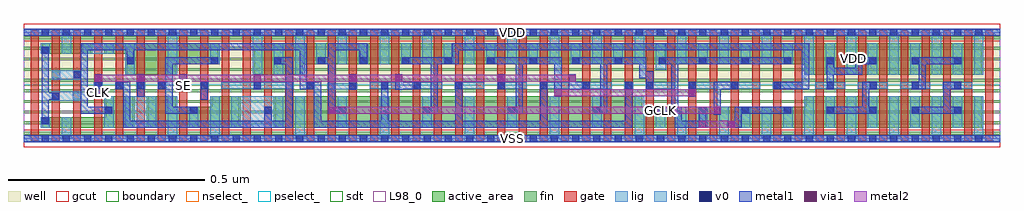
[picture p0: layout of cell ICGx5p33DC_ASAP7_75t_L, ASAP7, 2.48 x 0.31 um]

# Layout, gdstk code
import gdstk
lib = gdstk.Library(unit=1e-6, precision=2.5e-10)
def R(c, l, rs):  # rectangles x0, y0, x1, y1
    for r in rs: c.add(gdstk.rectangle(r[:2], r[2:], *l))
def A(c, l, x, y, w, h, nx, ny, dx, dy):  # array of equal rectangles
    R(c, l, [(x+i*dx, y+j*dy, x+i*dx+w, y+j*dy+h) for i in range(nx) for j in range(ny)])
def P(c, l, *ps):  # polygons
    for p in ps: c.add(gdstk.Polygon(p, *l))
well = (1, 0)
fin = (2, 0)
gate = (7, 0)
gcut = (10, 0)
active_area = (11, 0)
nselect_ = (12, 0)
pselect_ = (13, 0)
lig = (16, 0)
lisd = (17, 0)
v0 = (18, 0)
metal1 = (19, 0)
metal2 = (20, 0)
via1 = (21, 0)
sdt = (88, 0)
L98_0 = (98, 0)
boundary = (100, 0)

icgx5p33dc_asap7_75t_l = lib.new_cell('ICGx5p33DC_ASAP7_75t_L')
R(icgx5p33dc_asap7_75t_l, well, [(0,0.135,2.484,0.27)])
A(icgx5p33dc_asap7_75t_l, fin, 0, 0.01, 2.484, 0.007, 1, 10, 0, 0.027)
A(icgx5p33dc_asap7_75t_l, gate, 0.017, -0.005, 0.02, 0.28, 46, 1, 0.054, 0)
R(icgx5p33dc_asap7_75t_l, gcut, [(0,-0.022,2.484,0.022), (0,0.248,2.484,0.292)])
R(icgx5p33dc_asap7_75t_l, active_area, [(0.046,0.216,0.17,0.243)])
P(icgx5p33dc_asap7_75t_l, active_area, [(0.046,0.027),(0.278,0.027),(0.278,0.108),(0.208,0.108),(0.208,0.054),(0.046,0.054)],
  [(1.99,0.081),(1.574,0.081),(1.574,0.108),(0.64,0.108),(0.64,0.027),(2.438,0.027),(2.438,0.108),(1.99,0.108)],
  [(0.386,0.108),(0.316,0.108),(0.316,0.027),(0.548,0.027),(0.548,0.108),(0.478,0.108),(0.478,0.081),(0.386,0.081)],
  [(0.494,0.243),(0.208,0.243),(0.208,0.216),(0.262,0.216),(0.262,0.162),(0.386,0.162),(0.386,0.189),(0.494,0.189)],
  [(1.99,0.162),(2.438,0.162),(2.438,0.243),(0.586,0.243),(0.586,0.162),(0.71,0.162),(0.71,0.189),(1.99,0.189)])
R(icgx5p33dc_asap7_75t_l, nselect_, [(0,0,2.484,0.135)])
R(icgx5p33dc_asap7_75t_l, pselect_, [(0,0.135,2.484,0.27)])
A(icgx5p33dc_asap7_75t_l, lig, 0.178, 0.127, 0.022, 0.016, 6, 1, 0.054, 0)
A(icgx5p33dc_asap7_75t_l, lig, 0.88, 0.127, 0.076, 0.016, 6, 1, 0.108, 0)
A(icgx5p33dc_asap7_75t_l, lig, 1.582, 0.127, 0.076, 0.016, 8, 1, 0.108, 0)
R(icgx5p33dc_asap7_75t_l, lig, [(0,-0.008,2.484,0.008), (0.124,0.1,0.146,0.116), (0.772,0.125,0.848,0.141), (0.502,0.127,0.686,0.143), (0.718,0.127,0.74,0.143), (1.528,0.127,1.55,0.143), (0.07,0.154,0.092,0.17), (0,0.262,2.484,0.278)])
A(icgx5p33dc_asap7_75t_l, lisd, 0.474, 0, 0.024, 0.108, 6, 1, 0.216, 0)
A(icgx5p33dc_asap7_75t_l, lisd, 1.662, 0, 0.024, 0.081, 3, 1, 0.108, 0)
A(icgx5p33dc_asap7_75t_l, lisd, 1.986, 0, 0.024, 0.108, 5, 2, 0.108, 0.162)
A(icgx5p33dc_asap7_75t_l, lisd, 0.798, 0.027, 0.024, 0.081, 4, 1, 0.216, 0)
A(icgx5p33dc_asap7_75t_l, lisd, 1.608, 0.027, 0.024, 0.054, 4, 1, 0.108, 0)
A(icgx5p33dc_asap7_75t_l, lisd, 2.04, 0.027, 0.024, 0.081, 4, 2, 0.108, 0.135)
A(icgx5p33dc_asap7_75t_l, lisd, 0.744, 0.189, 0.024, 0.054, 8, 1, 0.108, 0)
A(icgx5p33dc_asap7_75t_l, lisd, 0.798, 0.189, 0.024, 0.081, 11, 1, 0.108, 0)
A(icgx5p33dc_asap7_75t_l, lisd, 1.716, 0.189, 0.024, 0.054, 3, 1, 0.108, 0)
R(icgx5p33dc_asap7_75t_l, lisd, [(0.096,0,0.12,0.054), (0.366,0,0.39,0.108), (0.042,0.027,0.066,0.054), (0.204,0.027,0.228,0.108), (0.258,0.027,0.336,0.108), (0.42,0.027,0.444,0.081), (0.528,0.027,0.66,0.108), (0.07,0.096,0.146,0.12), (0.07,0.15,0.146,0.174), (0.258,0.162,0.282,0.243), (0.366,0.162,0.39,0.27), (0.582,0.162,0.606,0.27), (0.636,0.162,0.66,0.243), (0.69,0.162,0.714,0.27), (1.608,0.175,1.635,0.243), (0.474,0.189,0.498,0.243), (0.042,0.216,0.066,0.243), (0.096,0.216,0.12,0.27), (0.15,0.216,0.228,0.243)])
A(icgx5p33dc_asap7_75t_l, v0, 0.045, -0.009, 0.018, 0.018, 45, 2, 0.054, 0.27)
A(icgx5p33dc_asap7_75t_l, v0, 0.423, 0.063, 0.018, 0.018, 3, 1, 0.189, 0)
A(icgx5p33dc_asap7_75t_l, v0, 1.016, 0.063, 0.018, 0.018, 3, 1, 0.216, 0)
A(icgx5p33dc_asap7_75t_l, v0, 1.611, 0.063, 0.018, 0.018, 8, 1, 0.108, 0)
A(icgx5p33dc_asap7_75t_l, v0, 0.18, 0.126, 0.018, 0.018, 6, 1, 0.054, 0)
A(icgx5p33dc_asap7_75t_l, v0, 1.098, 0.126, 0.018, 0.018, 5, 1, 0.108, 0)
A(icgx5p33dc_asap7_75t_l, v0, 1.584, 0.126, 0.018, 0.018, 4, 1, 0.108, 0)
A(icgx5p33dc_asap7_75t_l, v0, 0.747, 0.189, 0.018, 0.018, 8, 1, 0.108, 0)
A(icgx5p33dc_asap7_75t_l, v0, 1.719, 0.189, 0.018, 0.018, 7, 1, 0.108, 0)
R(icgx5p33dc_asap7_75t_l, v0, [(0.045,0.036,0.063,0.054), (0.207,0.063,0.225,0.081), (0.072,0.099,0.09,0.117), (0.828,0.124,0.846,0.142), (0.585,0.126,0.603,0.144), (0.72,0.126,0.738,0.144), (0.909,0.126,0.927,0.144), (0.992,0.126,1.01,0.144), (2.043,0.126,2.061,0.144), (2.152,0.126,2.17,0.144), (2.259,0.126,2.277,0.144), (2.367,0.126,2.385,0.144), (0.126,0.153,0.144,0.171), (0.261,0.189,0.279,0.207), (0.477,0.189,0.495,0.207), (0.637,0.189,0.655,0.207), (1.615,0.189,1.633,0.207), (0.045,0.216,0.063,0.234)])
R(icgx5p33dc_asap7_75t_l, metal1, [(0,-0.009,2.484,0.009), (0.45,0.099,0.468,0.144), (0.18,0.106,0.198,0.164), (0.288,0.106,0.306,0.164), (1.692,0.106,1.71,0.144), (0.828,0.124,0.846,0.164), (0.396,0.126,0.414,0.163), (0.585,0.126,0.603,0.164), (1.206,0.126,1.224,0.164), (0,0.261,2.484,0.279)])
P(icgx5p33dc_asap7_75t_l, metal1, [(1.01,0.144),(0.963,0.144),(0.963,0.164),(0.945,0.164),(0.945,0.124),(0.963,0.124),(0.963,0.126),(1.01,0.126)],
  [(1.773,0.126),(1.818,0.126),(1.818,0.144),(1.755,0.144),(1.755,0.061),(1.773,0.061)],
  [(2.169,0.081),(2.151,0.081),(2.151,0.126),(2.17,0.126),(2.17,0.144),(2.133,0.144),(2.133,0.081),(2.043,0.081),(2.043,0.063),(2.169,0.063)],
  [(2.385,0.081),(2.358,0.081),(2.358,0.126),(2.385,0.126),(2.385,0.144),(2.34,0.144),(2.34,0.081),(2.259,0.081),(2.259,0.063),(2.385,0.063)],
  [(1.953,0.207),(1.615,0.207),(1.615,0.189),(1.647,0.189),(1.647,0.081),(1.611,0.081),(1.611,0.063),(1.656,0.063),(1.656,0.027),(1.737,0.027),(1.737,0.081),(1.719,0.081),(1.719,0.045),(1.674,0.045),(1.674,0.081),(1.665,0.081),(1.665,0.189),(1.953,0.189)],
  [(1.44,0.144),(1.404,0.144),(1.404,0.164),(1.386,0.164),(1.386,0.126),(1.44,0.126)],
  [(1.485,0.189),(1.566,0.189),(1.566,0.153),(1.584,0.153),(1.584,0.126),(1.602,0.126),(1.602,0.171),(1.584,0.171),(1.584,0.207),(1.395,0.207),(1.395,0.189),(1.467,0.189),(1.467,0.081),(1.448,0.081),(1.448,0.063),(1.485,0.063)],
  [(0.684,0.207),(0.637,0.207),(0.637,0.189),(0.666,0.189),(0.666,0.045),(0.63,0.045),(0.63,0.081),(0.612,0.081),(0.612,0.045),(0.27,0.045),(0.27,0.144),(0.234,0.144),(0.234,0.126),(0.252,0.126),(0.252,0.027),(0.684,0.027)],
  [(1.953,0.081),(1.809,0.081),(1.809,0.045),(1.79,0.045),(1.79,0.027),(1.827,0.027),(1.827,0.063),(1.953,0.063)],
  [(2.061,0.162),(2.133,0.162),(2.133,0.189),(2.169,0.189),(2.169,0.207),(2.115,0.207),(2.115,0.18),(2.061,0.18),(2.061,0.207),(2.043,0.207),(2.043,0.126),(2.061,0.126)],
  [(0.441,0.081),(0.378,0.081),(0.378,0.189),(0.495,0.189),(0.495,0.207),(0.36,0.207),(0.36,0.144),(0.342,0.144),(0.342,0.126),(0.36,0.126),(0.36,0.063),(0.441,0.063)],
  [(1.269,0.189),(1.35,0.189),(1.35,0.106),(1.368,0.106),(1.368,0.207),(1.179,0.207),(1.179,0.189),(1.251,0.189),(1.251,0.081),(1.232,0.081),(1.232,0.063),(1.269,0.063)],
  [(2.385,0.207),(2.259,0.207),(2.259,0.189),(2.277,0.189),(2.277,0.144),(2.259,0.144),(2.259,0.126),(2.295,0.126),(2.295,0.189),(2.385,0.189)],
  [(1.548,0.144),(1.53,0.144),(1.53,0.045),(1.332,0.045),(1.332,0.144),(1.314,0.144),(1.314,0.045),(1.116,0.045),(1.116,0.144),(1.098,0.144),(1.098,0.045),(0.927,0.045),(0.927,0.144),(0.909,0.144),(0.909,0.045),(0.756,0.045),(0.756,0.144),(0.72,0.144),(0.72,0.243),(0.144,0.243),(0.144,0.171),(0.126,0.171),(0.126,0.153),(0.144,0.153),(0.144,0.063),(0.225,0.063),(0.225,0.081),(0.162,0.081),(0.162,0.225),(0.261,0.225),(0.261,0.189),(0.279,0.189),(0.279,0.225),(0.702,0.225),(0.702,0.126),(0.738,0.126),(0.738,0.027),(1.548,0.027)],
  [(1.053,0.189),(1.107,0.189),(1.107,0.225),(1.98,0.225),(1.98,0.144),(1.908,0.144),(1.908,0.126),(1.998,0.126),(1.998,0.243),(1.089,0.243),(1.089,0.207),(0.963,0.207),(0.963,0.189),(1.035,0.189),(1.035,0.081),(1.016,0.081),(1.016,0.063),(1.053,0.063)],
  [(0.063,0.099),(0.09,0.099),(0.09,0.117),(0.063,0.117),(0.063,0.234),(0.045,0.234),(0.045,0.036),(0.063,0.036)],
  [(0.819,0.081),(0.792,0.081),(0.792,0.225),(0.855,0.225),(0.855,0.189),(0.873,0.189),(0.873,0.243),(0.774,0.243),(0.774,0.207),(0.747,0.207),(0.747,0.189),(0.774,0.189),(0.774,0.063),(0.819,0.063)])
R(icgx5p33dc_asap7_75t_l, metal2, [(1.717,0.027,1.81,0.045), (0.776,0.063,1.773,0.081), (1.35,0.108,1.71,0.126), (0.18,0.144,1.404,0.162)])
R(icgx5p33dc_asap7_75t_l, via1, [(1.717,0.027,1.735,0.045), (1.792,0.027,1.81,0.045), (0.776,0.063,0.794,0.081), (1.755,0.063,1.773,0.081), (1.35,0.108,1.368,0.126), (1.692,0.108,1.71,0.126), (0.18,0.144,0.198,0.162), (0.288,0.144,0.306,0.162), (0.585,0.144,0.603,0.162), (0.828,0.144,0.846,0.162), (0.945,0.144,0.963,0.162), (1.206,0.144,1.224,0.162), (1.386,0.144,1.404,0.162)])
A(icgx5p33dc_asap7_75t_l, sdt, 0.204, 0.027, 0.024, 0.081, 4, 1, 0.054, 0)
A(icgx5p33dc_asap7_75t_l, sdt, 0.69, 0.027, 0.024, 0.081, 9, 1, 0.108, 0)
A(icgx5p33dc_asap7_75t_l, sdt, 1.608, 0.027, 0.024, 0.054, 7, 1, 0.054, 0)
A(icgx5p33dc_asap7_75t_l, sdt, 1.986, 0.027, 0.024, 0.081, 9, 2, 0.054, 0.135)
A(icgx5p33dc_asap7_75t_l, sdt, 0.582, 0.162, 0.024, 0.081, 3, 1, 0.054, 0)
A(icgx5p33dc_asap7_75t_l, sdt, 0.744, 0.189, 0.024, 0.054, 23, 1, 0.054, 0)
A(icgx5p33dc_asap7_75t_l, sdt, 0.042, 0.216, 0.024, 0.027, 4, 1, 0.054, 0)
R(icgx5p33dc_asap7_75t_l, sdt, [(0.042,0.027,0.066,0.054), (0.096,0.027,0.12,0.054), (0.42,0.027,0.444,0.081), (0.474,0.027,0.498,0.108), (0.528,0.027,0.552,0.108), (0.636,0.027,0.66,0.108), (0.258,0.162,0.282,0.243), (0.366,0.162,0.39,0.243), (0.474,0.189,0.498,0.243)])
R(icgx5p33dc_asap7_75t_l, L98_0, [(0,0,2.484,0.27)])
R(icgx5p33dc_asap7_75t_l, boundary, [(0,0,2.484,0.27)])
icgx5p33dc_asap7_75t_l.add(gdstk.Label('SE', (0.405,0.135), layer=19, texttype=251))
icgx5p33dc_asap7_75t_l.add(gdstk.Label('GCLK', (1.62,0.072), layer=19, texttype=251))
icgx5p33dc_asap7_75t_l.add(gdstk.Label('ENA', (0.459,0.108), layer=19, texttype=251))
icgx5p33dc_asap7_75t_l.add(gdstk.Label('CLK', (0.189,0.116), layer=19, texttype=251))
icgx5p33dc_asap7_75t_l.add(gdstk.Label('VSS', (1.242,0), layer=19, texttype=251))
icgx5p33dc_asap7_75t_l.add(gdstk.Label('VDD', (1.242,0.27), layer=19, texttype=251))
icgx5p33dc_asap7_75t_l.add(gdstk.Label('VDD', (2.1115,0.2025), layer=1, texttype=251))
icgx5p33dc_asap7_75t_l.add(gdstk.Label('VSS', (2.8565,0.2025), layer=3, texttype=251))

lib.write_gds('ICGx5p33DC_ASAP7_75t_L.gds')
